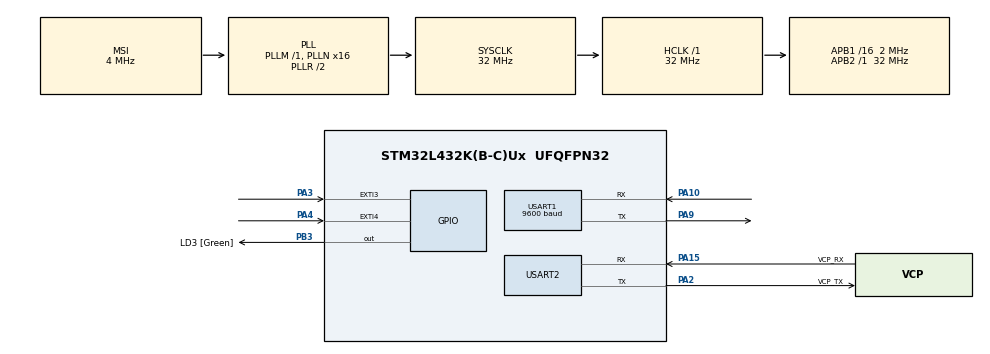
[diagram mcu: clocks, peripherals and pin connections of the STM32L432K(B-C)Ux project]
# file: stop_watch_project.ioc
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Dma.Request0=USART1_RX
Dma.USART1_RX.0.Direction=DMA_PERIPH_TO_MEMORY
Dma.USART1_RX.0.Instance=DMA1_Channel5
Dma.USART1_RX.0.MemDataAlignment=DMA_MDATAALIGN_BYTE
Dma.USART1_RX.0.MemInc=DMA_MINC_ENABLE
Dma.USART1_RX.0.Mode=DMA_NORMAL
Dma.USART1_RX.0.PeriphDataAlignment=DMA_PDATAALIGN_BYTE
Dma.USART1_RX.0.PeriphInc=DMA_PINC_DISABLE
Dma.USART1_RX.0.Priority=DMA_PRIORITY_LOW
FREERTOS.Tasks01=defaultTask,24,128,StartDefaultTask,Default,NULL,Dynamic,NULL,NULL;read_UART,24,128,StartTaskReadUART,Default,NULL,Dynamic,NULL,NULL;write_UART,24,128,StartTaskWriteUART,Default,NULL,Dynamic,NULL,NULL;count_stopwatch,40,128,StartTaskCountStopwatch,Default,NULL,Dynamic,NULL,NULL;WatchDogChecks,48,128,StartTaskStartTaskWatchDogChecks,Default,NULL,Dynamic,NULL,NULL
Mcu.Family=STM32L4
Mcu.Name=STM32L432K(B-C)Ux
Mcu.Package=UFQFPN32
NVIC.DMA1_Channel5_IRQn=true\:5\:0\:false\:false\:true\:true\:false\:true\:true
NVIC.EXTI3_IRQn=true\:5\:0\:false\:false\:true\:true\:true\:true\:true
NVIC.EXTI4_IRQn=true\:5\:0\:false\:false\:true\:true\:true\:true\:true
NVIC.PriorityGroup=NVIC_PRIORITYGROUP_4
NVIC.TIM2_IRQn=true\:5\:0\:false\:false\:true\:true\:true\:true\:true
NVIC.WWDG_IRQn=true\:5\:0\:false\:false\:true\:true\:true\:true\:true
PA0.GPIO_Label=MCO [High speed clock in]
PA0.Mode=HSE-External-Clock-Source-for-LittleOrca
PA0.Signal=RCC_CK_IN
PA10.Mode=Asynchronous
PA10.Signal=USART1_RX
PA13\ (JTMS-SWDIO).GPIO_Label=SWDIO
PA13\ (JTMS-SWDIO).Mode=Serial_Wire
PA13\ (JTMS-SWDIO).Signal=SYS_JTMS-SWDIO
PA14\ (JTCK-SWCLK).GPIO_Label=SWCLK
PA14\ (JTCK-SWCLK).Mode=Serial_Wire
PA14\ (JTCK-SWCLK).Signal=SYS_JTCK-SWCLK
PA15\ (JTDI).GPIO_Label=VCP_RX
PA15\ (JTDI).Mode=Asynchronous
PA15\ (JTDI).Signal=USART2_RX
PA2.GPIO_Label=VCP_TX
PA2.Mode=Asynchronous
PA2.Signal=USART2_TX
PA3.GPIO_ModeDefaultEXTI=GPIO_MODE_IT_RISING_FALLING
PA3.GPIO_PuPd=GPIO_PULLDOWN
PA3.Signal=GPXTI3
PA4.GPIO_PuPd=GPIO_PULLDOWN
PA4.Signal=GPXTI4
PA9.Mode=Asynchronous
PA9.Signal=USART1_TX
PB3\ (JTDO-TRACESWO).GPIO_Label=LD3 [Green]
PB3\ (JTDO-TRACESWO).Signal=GPIO_Output
PC14-OSC32_IN\ (PC14).Mode=LSE-External-Oscillator
PC14-OSC32_IN\ (PC14).Signal=RCC_OSC32_IN
PC15-OSC32_OUT\ (PC15).Mode=LSE-External-Oscillator
PC15-OSC32_OUT\ (PC15).Signal=RCC_OSC32_OUT
ProjectManager.HeapSize=0x200
ProjectManager.StackSize=0x400
ProjectManager.TargetToolchain=STM32CubeIDE
RCC.AHBFreq_Value=32000000
RCC.APB1CLKDivider=RCC_HCLK_DIV16
RCC.APB1Freq_Value=2000000
RCC.APB1TimFreq_Value=4000000
RCC.APB2Freq_Value=32000000
RCC.APB2TimFreq_Value=32000000
RCC.CortexFreq_Value=32000000
RCC.HCLKFreq_Value=32000000
RCC.HSE_VALUE=8000000
RCC.HSI16_VALUE=16000000
RCC.HSI48_VALUE=48000000
RCC.HSI_VALUE=16000000
RCC.MSI_VALUE=4000000
RCC.PLLMUL=RCC_PLLMUL_4
RCC.PLLN=16
RCC.SYSCLKFreq_VALUE=32000000
RCC.SYSCLKSource=RCC_SYSCLKSOURCE_PLLCLK
RCC.VCOOutputFreq_Value=64000000
TIM16.Period=65536-1
TIM16.Prescaler=80-1
TIM2.Period=3999
USART1.BaudRate=9600
USART1.VirtualMode-Asynchronous=VM_ASYNC
USART2.VirtualMode-Asynchronous=VM_ASYNC
VP_FREERTOS_VS_CMSIS_V2.Mode=CMSIS_V2
VP_TIM16_VS_ClockSourceINT.Mode=Enable_Timer
VP_TIM2_VS_ClockSourceINT.Mode=Internal
VP_WWDG_VS_WWDG.Mode=WWDG_Activate
WWDG.Counter=127
WWDG.EWIMode=WWDG_EWI_ENABLE
WWDG.Prescaler=WWDG_PRESCALER_8
WWDG.Window=95
board=NUCLEO-L432KC

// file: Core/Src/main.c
/* USER CODE BEGIN Header */
/**
  ******************************************************************************
  * @file           : main.c
  * @brief          : Main program body
  ******************************************************************************
  * @attention
  *
  * Copyright (c) 2024 STMicroelectronics.
  * All rights reserved.
  *
  * This software is licensed under terms that can be found in the LICENSE file
  * in the root directory of this software component.
  * If no LICENSE file comes with this software, it is provided AS-IS.
  *
  ******************************************************************************
  */
/* USER CODE END Header */
#include "main.h"
#include "cmsis_os.h"

TIM_HandleTypeDef htim2;
TIM_HandleTypeDef htim16;

UART_HandleTypeDef huart1;
UART_HandleTypeDef huart2;
DMA_HandleTypeDef hdma_usart1_rx;

WWDG_HandleTypeDef hwwdg;

/* Definitions for defaultTask */
osThreadId_t defaultTaskHandle;
const osThreadAttr_t defaultTask_attributes = {
  .name = "defaultTask",
  .stack_size = 128 * 4,
  .priority = (osPriority_t) osPriorityNormal,
};
/* Definitions for read_UART */
osThreadId_t read_UARTHandle;
const osThreadAttr_t read_UART_attributes = {
  .name = "read_UART",
  .stack_size = 128 * 4,
  .priority = (osPriority_t) osPriorityNormal,
};
/* Definitions for write_UART */
osThreadId_t write_UARTHandle;
const osThreadAttr_t write_UART_attributes = {
  .name = "write_UART",
  .stack_size = 128 * 4,
  .priority = (osPriority_t) osPriorityNormal,
};
/* Definitions for count_stopwatch */
osThreadId_t count_stopwatchHandle;
const osThreadAttr_t count_stopwatch_attributes = {
  .name = "count_stopwatch",
  .stack_size = 128 * 4,
  .priority = (osPriority_t) osPriorityHigh,
};
/* Definitions for WatchDogChecks */
osThreadId_t WatchDogChecksHandle;
const osThreadAttr_t WatchDogChecks_attributes = {
  .name = "WatchDogChecks",
  .stack_size = 128 * 4,
  .priority = (osPriority_t) osPriorityRealtime,
};

void SystemClock_Config(void);
static void MX_GPIO_Init(void);
static void MX_DMA_Init(void);
static void MX_USART2_UART_Init(void);
static void MX_USART1_UART_Init(void);
static void MX_TIM16_Init(void);
static void MX_TIM2_Init(void);
static void MX_WWDG_Init(void);
void StartDefaultTask(void *argument);
void StartTaskReadUART(void *argument);
void StartTaskWriteUART(void *argument);
void StartTaskCountStopwatch(void *argument);
void StartTaskStartTaskWatchDogChecks(void *argument);

/* USER CODE BEGIN 0 */
#define BUFFER_SIZE 12
uint16_t UART1_BufferSize = BUFFER_SIZE;
uint8_t UART1_rxBuffer[BUFFER_SIZE] = {0};
uint8_t UART1_txBuffer[BUFFER_SIZE] = {0};
uint8_t UART1_debugBuffer[BUFFER_SIZE] = {0};

uint8_t rxData; // Variable to store received data
uint8_t rxIndex = 0; // Index for buffer

// Global time variables
volatile uint32_t milliseconds = 0;
volatile uint32_t seconds = 0;
volatile uint32_t minutes = 0;
volatile uint32_t hours = 0;
volatile uint32_t prev_milliseconds = 0;

#define START 1
#define STOP 0
#define RESET 1
#define NOT_RESET 0

volatile uint32_t reset_flag = NOT_RESET;  // 0 = not reset, 1 = reset
volatile uint32_t start_stop_flag = STOP;  // 0 = stop, 1 = start

// Define task handles and watchdog status flags
#define NUM_TASKS 1  // Number of tasks to monitor

volatile uint32_t taskAliveFlags[NUM_TASKS] = {0};

// Task IDs (to identify them in the watchdog)
typedef enum {
    TASK_count_stopwatch_ID = 0
} TaskID_t;
/* USER CODE END 0 */

int main(void)
{

  /* MCU Configuration--------------------------------------------------------*/

  /* Reset of all peripherals, Initializes the Flash interface and the Systick. */
  HAL_Init();

  /* Configure the system clock */
  SystemClock_Config();

  /* Initialize all configured peripherals */
  MX_GPIO_Init();
  MX_DMA_Init();
  MX_USART2_UART_Init();
  MX_USART1_UART_Init();
  MX_TIM16_Init();
  MX_TIM2_Init();
  MX_WWDG_Init();
  /* USER CODE BEGIN 2 */
  HAL_TIM_Base_Start(&htim16);
  HAL_TIM_Base_Start_IT(&htim2);
  /* USER CODE END 2 */

  /* Init scheduler */
  osKernelInitialize();

  /* Create the thread(s) */
  /* creation of defaultTask */
//  defaultTaskHandle = osThreadNew(StartDefaultTask, NULL, &defaultTask_attributes);
//
//  /* creation of read_UART */
//  read_UARTHandle = osThreadNew(StartTaskReadUART, NULL, &read_UART_attributes);
//
//  /* creation of write_UART */
//  write_UARTHandle = osThreadNew(StartTaskWriteUART, NULL, &write_UART_attributes);

  /* creation of count_stopwatch */
  count_stopwatchHandle = osThreadNew(StartTaskCountStopwatch, (void*)TASK_count_stopwatch_ID, &count_stopwatch_attributes);

  /* creation of WatchDogChecks */
  WatchDogChecksHandle = osThreadNew(StartTaskStartTaskWatchDogChecks, NULL, &WatchDogChecks_attributes);

  /* Start scheduler */
  osKernelStart();

  /* We should never get here as control is now taken by the scheduler */
  /* Infinite loop */
  while (1)
  {

  }
}

void SystemClock_Config(void)
{
  RCC_OscInitTypeDef RCC_OscInitStruct = {0};
  RCC_ClkInitTypeDef RCC_ClkInitStruct = {0};

  /** Configure the main internal regulator output voltage
  */
  if (HAL_PWREx_ControlVoltageScaling(PWR_REGULATOR_VOLTAGE_SCALE1) != HAL_OK)
  {
    Error_Handler();
  }

  /** Configure LSE Drive Capability
  */
  HAL_PWR_EnableBkUpAccess();
  __HAL_RCC_LSEDRIVE_CONFIG(RCC_LSEDRIVE_LOW);

  /** Initializes the RCC Oscillators according to the specified parameters
  * in the RCC_OscInitTypeDef structure.
  */
  RCC_OscInitStruct.OscillatorType = RCC_OSCILLATORTYPE_LSE|RCC_OSCILLATORTYPE_MSI;
  RCC_OscInitStruct.LSEState = RCC_LSE_ON;
  RCC_OscInitStruct.MSIState = RCC_MSI_ON;
  RCC_OscInitStruct.MSICalibrationValue = 0;
  RCC_OscInitStruct.MSIClockRange = RCC_MSIRANGE_6;
  RCC_OscInitStruct.PLL.PLLState = RCC_PLL_ON;
  RCC_OscInitStruct.PLL.PLLSource = RCC_PLLSOURCE_MSI;
  RCC_OscInitStruct.PLL.PLLM = 1;
  RCC_OscInitStruct.PLL.PLLN = 16;
  RCC_OscInitStruct.PLL.PLLP = RCC_PLLP_DIV7;
  RCC_OscInitStruct.PLL.PLLQ = RCC_PLLQ_DIV2;
  RCC_OscInitStruct.PLL.PLLR = RCC_PLLR_DIV2;
  if (HAL_RCC_OscConfig(&RCC_OscInitStruct) != HAL_OK)
  {
    Error_Handler();
  }

  /** Initializes the CPU, AHB and APB buses clocks
  */
  RCC_ClkInitStruct.ClockType = RCC_CLOCKTYPE_HCLK|RCC_CLOCKTYPE_SYSCLK
                              |RCC_CLOCKTYPE_PCLK1|RCC_CLOCKTYPE_PCLK2;
  RCC_ClkInitStruct.SYSCLKSource = RCC_SYSCLKSOURCE_PLLCLK;
  RCC_ClkInitStruct.AHBCLKDivider = RCC_SYSCLK_DIV1;
  RCC_ClkInitStruct.APB1CLKDivider = RCC_HCLK_DIV16;
  RCC_ClkInitStruct.APB2CLKDivider = RCC_HCLK_DIV1;

  if (HAL_RCC_ClockConfig(&RCC_ClkInitStruct, FLASH_LATENCY_1) != HAL_OK)
  {
    Error_Handler();
  }

  /** Enable MSI Auto calibration
  */
  HAL_RCCEx_EnableMSIPLLMode();
}

static void MX_TIM2_Init(void)
{

  TIM_ClockConfigTypeDef sClockSourceConfig = {0};
  TIM_MasterConfigTypeDef sMasterConfig = {0};

  htim2.Instance = TIM2;
  htim2.Init.Prescaler = 0;
  htim2.Init.CounterMode = TIM_COUNTERMODE_UP;
  htim2.Init.Period = 3999;
  htim2.Init.ClockDivision = TIM_CLOCKDIVISION_DIV1;
  htim2.Init.AutoReloadPreload = TIM_AUTORELOAD_PRELOAD_DISABLE;
  if (HAL_TIM_Base_Init(&htim2) != HAL_OK)
  {
    Error_Handler();
  }
  sClockSourceConfig.ClockSource = TIM_CLOCKSOURCE_INTERNAL;
  if (HAL_TIM_ConfigClockSource(&htim2, &sClockSourceConfig) != HAL_OK)
  {
    Error_Handler();
  }
  sMasterConfig.MasterOutputTrigger = TIM_TRGO_RESET;
  sMasterConfig.MasterSlaveMode = TIM_MASTERSLAVEMODE_DISABLE;
  if (HAL_TIMEx_MasterConfigSynchronization(&htim2, &sMasterConfig) != HAL_OK)
  {
    Error_Handler();
  }

}

static void MX_TIM16_Init(void)
{

  htim16.Instance = TIM16;
  htim16.Init.Prescaler = 80-1;
  htim16.Init.CounterMode = TIM_COUNTERMODE_UP;
  htim16.Init.Period = 65536-1;
  htim16.Init.ClockDivision = TIM_CLOCKDIVISION_DIV1;
  htim16.Init.RepetitionCounter = 0;
  htim16.Init.AutoReloadPreload = TIM_AUTORELOAD_PRELOAD_DISABLE;
  if (HAL_TIM_Base_Init(&htim16) != HAL_OK)
  {
    Error_Handler();
  }

}

static void MX_USART1_UART_Init(void)
{

  huart1.Instance = USART1;
  huart1.Init.BaudRate = 9600;
  huart1.Init.WordLength = UART_WORDLENGTH_8B;
  huart1.Init.StopBits = UART_STOPBITS_1;
  huart1.Init.Parity = UART_PARITY_NONE;
  huart1.Init.Mode = UART_MODE_TX_RX;
  huart1.Init.HwFlowCtl = UART_HWCONTROL_NONE;
  huart1.Init.OverSampling = UART_OVERSAMPLING_16;
  huart1.Init.OneBitSampling = UART_ONE_BIT_SAMPLE_DISABLE;
  huart1.AdvancedInit.AdvFeatureInit = UART_ADVFEATURE_NO_INIT;
  if (HAL_UART_Init(&huart1) != HAL_OK)
  {
    Error_Handler();
  }

}

static void MX_USART2_UART_Init(void)
{

  huart2.Instance = USART2;
  huart2.Init.BaudRate = 115200;
  huart2.Init.WordLength = UART_WORDLENGTH_8B;
  huart2.Init.StopBits = UART_STOPBITS_1;
  huart2.Init.Parity = UART_PARITY_NONE;
  huart2.Init.Mode = UART_MODE_TX_RX;
  huart2.Init.HwFlowCtl = UART_HWCONTROL_NONE;
  huart2.Init.OverSampling = UART_OVERSAMPLING_16;
  huart2.Init.OneBitSampling = UART_ONE_BIT_SAMPLE_DISABLE;
  huart2.AdvancedInit.AdvFeatureInit = UART_ADVFEATURE_NO_INIT;
  if (HAL_UART_Init(&huart2) != HAL_OK)
  {
    Error_Handler();
  }

}

static void MX_WWDG_Init(void)
{

  hwwdg.Instance = WWDG;
  hwwdg.Init.Prescaler = WWDG_PRESCALER_8;
  hwwdg.Init.Window = 95;
  hwwdg.Init.Counter = 127;
  hwwdg.Init.EWIMode = WWDG_EWI_ENABLE;
  if (HAL_WWDG_Init(&hwwdg) != HAL_OK)
  {
    Error_Handler();
  }

}

static void MX_DMA_Init(void)
{

  /* DMA controller clock enable */
  __HAL_RCC_DMA1_CLK_ENABLE();

  /* DMA interrupt init */
  /* DMA1_Channel5_IRQn interrupt configuration */
  HAL_NVIC_SetPriority(DMA1_Channel5_IRQn, 5, 0);
  HAL_NVIC_EnableIRQ(DMA1_Channel5_IRQn);

}

static void MX_GPIO_Init(void)
{
  GPIO_InitTypeDef GPIO_InitStruct = {0};

  /* GPIO Ports Clock Enable */
  __HAL_RCC_GPIOC_CLK_ENABLE();
  __HAL_RCC_GPIOA_CLK_ENABLE();
  __HAL_RCC_GPIOB_CLK_ENABLE();

  /*Configure GPIO pin Output Level */
  HAL_GPIO_WritePin(LD3_GPIO_Port, LD3_Pin, GPIO_PIN_RESET);

  /*Configure GPIO pin : PA3 */
  GPIO_InitStruct.Pin = GPIO_PIN_3;
  GPIO_InitStruct.Mode = GPIO_MODE_IT_RISING_FALLING;
  GPIO_InitStruct.Pull = GPIO_PULLDOWN;
  HAL_GPIO_Init(GPIOA, &GPIO_InitStruct);

  /*Configure GPIO pin : PA4 */
  GPIO_InitStruct.Pin = GPIO_PIN_4;
  GPIO_InitStruct.Mode = GPIO_MODE_IT_RISING;
  GPIO_InitStruct.Pull = GPIO_PULLDOWN;
  HAL_GPIO_Init(GPIOA, &GPIO_InitStruct);

  /*Configure GPIO pin : LD3_Pin */
  GPIO_InitStruct.Pin = LD3_Pin;
  GPIO_InitStruct.Mode = GPIO_MODE_OUTPUT_PP;
  GPIO_InitStruct.Pull = GPIO_NOPULL;
  GPIO_InitStruct.Speed = GPIO_SPEED_FREQ_LOW;
  HAL_GPIO_Init(LD3_GPIO_Port, &GPIO_InitStruct);

  /* EXTI interrupt init*/
  HAL_NVIC_SetPriority(EXTI3_IRQn, 5, 0);
  HAL_NVIC_EnableIRQ(EXTI3_IRQn);

  HAL_NVIC_SetPriority(EXTI4_IRQn, 5, 0);
  HAL_NVIC_EnableIRQ(EXTI4_IRQn);

}

/* USER CODE BEGIN 4 */
//void HAL_UART_RxCpltCallback(UART_HandleTypeDef *huart)
//{
//  HAL_UART_Receive_DMA(&huart1, UART1_rxBuffer, UART1_BufferSize); //You need to toggle a breakpoint on this line!
//  HAL_UART_Transmit_DMA(&huart1, UART1_rxBuffer, UART1_BufferSize);
//}
void HAL_TIM_PeriodElapsedCallback(TIM_HandleTypeDef* htim)
{
	if (htim == &htim2 && reset_flag == NOT_RESET)
	{
		milliseconds++;
	}
}

void HAL_GPIO_EXTI_Callback(uint16_t GPIO_Pin)
{
	static uint32_t last_tick = 0;
	uint32_t current_tick = HAL_GetTick();
	uint32_t debouncing_delay = 100;  // in milliseconds

	if (GPIO_Pin == GPIO_PIN_3 && (current_tick - last_tick) > debouncing_delay)
	{
		// reset stopwatch
        if (HAL_GPIO_ReadPin(GPIOA, GPIO_PIN_3) == GPIO_PIN_SET) {  // Confirm button is still pressed
        	reset_flag = RESET;  // Set reset_flag when pin goes high (rising edge)
        	start_stop_flag = STOP;
		}
        else
        {
        	reset_flag = NOT_RESET;  // Clear reset_flag when pin goes low (falling edge)
        }
	}
	else if (GPIO_Pin == GPIO_PIN_4 && (current_tick - last_tick) > debouncing_delay)
	{
		// start or stop stopwatch
        if (HAL_GPIO_ReadPin(GPIOA, GPIO_PIN_4) == GPIO_PIN_SET) {  // Confirm button is still pressed
        	start_stop_flag = !start_stop_flag;
        }
	}

//	if ((GPIO_Pin == GPIO_PIN_4 || GPIO_Pin == GPIO_PIN_3) && (current_tick - last_tick) > debouncing_delay)
//	{
//		HAL_GPIO_TogglePin(LD3_GPIO_Port, LD3_Pin);
//	}

}

// Helper function to format and send time over UART
void SendTimeUART(uint32_t hours, uint32_t minutes, uint32_t seconds, uint32_t milliseconds) {
    char uart_buf[50];
    uint16_t uart_buf_len = sprintf(uart_buf, "%02d:%02d:%02d:%03d h:m:s:ms\r\n", hours, minutes, seconds, milliseconds);
    HAL_UART_Transmit(&huart2, (uint8_t *)uart_buf, uart_buf_len, 100);
}

// Helper function to increment time components
void UpdateTime(void) {
    if (milliseconds >= 999) {
        seconds++;
        milliseconds = 0;
//        HAL_GPIO_TogglePin(LD3_GPIO_Port, LD3_Pin); // Toggle LED every second
    }
    if (seconds > 59) {
        minutes++;
        seconds = 0;
    }
    if (minutes > 59) {
        hours++;
        minutes = 0;
    }
}
/* USER CODE END 4 */

void StartDefaultTask(void *argument)
{
  /* USER CODE BEGIN 5 */
  /* Infinite loop */
  for(;;)
  {
//	  HAL_GPIO_TogglePin(LD3_GPIO_Port, LD3_Pin);
//	  osDelay(500);
  }
  /* USER CODE END 5 */
}

void StartTaskReadUART(void *argument)
{
  /* USER CODE BEGIN StartTaskReadUART */
//	HAL_UART_Receive_DMA(&huart1, UART1_rxBuffer, UART1_BufferSize);
// Check if data is available to read
//	if (HAL_UART_Receive(&huart1, &rxData, 1, HAL_MAX_DELAY) == HAL_OK)
//	{
//		// Store received data in buffer
//		UART1_rxBuffer[rxIndex] = rxData;
//		rxIndex++;
//
//		// Check for end of data or buffer overflow
//		if (rxData == '\n' || rxIndex >= UART1_BufferSize)
//		{
//			// Process received data
//			// Example: Print received data
//			HAL_UART_Transmit(&huart1, UART1_rxBuffer, rxIndex, HAL_MAX_DELAY);
//
//			// Reset buffer and index for next reception
//			rxIndex = 0;
//		}
//	}
//	uint32_t UART1_timeout = 100;
//	/* Infinite loop */
	for(;;)
	{
//	  HAL_UART_Receive(&huart1, UART1_rxBuffer, UART1_BufferSize, UART1_timeout);
//	  osDelay(1000);
//	  HAL_UART_Transmit(&huart1, UART1_rxBuffer, UART1_BufferSize, UART1_timeout);
	}
  /* USER CODE END StartTaskReadUART */
}

void StartTaskWriteUART(void *argument)
{
  /* USER CODE BEGIN StartTaskWriteUART */
//	uint32_t UART1_timeout = 100;

//	int A = 65;  // A in ASCII code
//
//	for (int i = 0; i < UART1_BufferSize; i++)
//	{
//		UART1_txBuffer[i] = A + i;
//	}
//
//	for (int i = 0; i < UART1_BufferSize; i++)
//	{
//		UART1_debugBuffer[i] = 90 - i;
//	}

//	HAL_UART_Transmit(&huart1, UART1_txBuffer, UART1_BufferSize, UART1_timeout);

  /* Infinite loop */
  for(;;)
  {
//	  HAL_UART_Transmit(&huart1, UART1_txBuffer, UART1_BufferSize, UART1_timeout);
//	  HAL_UART_Receive(&huart1, UART1_rxBuffer, UART1_BufferSize, UART1_timeout);
//	  HAL_UART_Transmit(&huart2, UART1_rxBuffer, UART1_BufferSize, UART1_timeout);
//	  osDelay(1000);
//	  HAL_UART_Transmit(&huart1, UART1_rxBuffer, UART1_BufferSize, UART1_timeout);
  }
  /* USER CODE END StartTaskWriteUART */
}

void StartTaskCountStopwatch(void *argument)
{
  /* USER CODE BEGIN StartTaskCountStopwatch */
    /* Infinite loop */
    TaskID_t taskId = (TaskID_t)argument;
    uint32_t reset_flag_prev = reset_flag;
    uint32_t start_stop_flag_prev = start_stop_flag;
    for (;;) {
    	taskAliveFlags[taskId] = 1;  // Signal task is alive
        // If stopwatch is running and not reset
        if ((start_stop_flag == START) && (reset_flag == NOT_RESET)) {
            if (prev_milliseconds != milliseconds) {
                SendTimeUART(hours, minutes, seconds, milliseconds);
                prev_milliseconds = milliseconds;
            }
            UpdateTime();
            osDelay(1); // Delay 1 ms to avoid tight loop
        }

        // If stopwatch is stopped but not reset
        else if ((start_stop_flag == STOP) && (start_stop_flag_prev != start_stop_flag) && (reset_flag == NOT_RESET)) {
            SendTimeUART(hours, minutes, seconds, milliseconds);
            osDelay(100); // Update display once every second when stopped
        }

        // If reset is triggered
        else if (reset_flag == RESET && reset_flag != reset_flag_prev) {
            milliseconds = 0;
            prev_milliseconds = 0;
            seconds = 0;
            minutes = 0;
            hours = 0;
            SendTimeUART(hours, minutes, seconds, milliseconds);
			osDelay(100); // Update display once every second when reset
        }
    }
  /* USER CODE END StartTaskCountStopwatch */
}

void StartTaskStartTaskWatchDogChecks(void *argument)
{
  /* USER CODE BEGIN StartTaskStartTaskWatchDogChecks */
  /* Infinite loop */
  for(;;)
  {
	osDelay(900);

	uint32_t allTasksAlive = 1;
    for (int i = 0; i < NUM_TASKS; i++) {
        if (taskAliveFlags[i] == 0) {
            allTasksAlive = 0;  // Task did not signal within time
            break;
        }
    }

    if (allTasksAlive) {
    	HAL_GPIO_TogglePin(LD3_GPIO_Port, LD3_Pin);
        HAL_WWDG_Refresh(&hwwdg);
    } //else {
        // Handle watchdog timeout: log error, reset system, etc.
        // resetSystem(); or print error message
    //}

    // Clear task flags for next check
    for (int i = 0; i < NUM_TASKS; i++) {
        taskAliveFlags[i] = 0;
    }

  }
  /* USER CODE END StartTaskStartTaskWatchDogChecks */
}

void Error_Handler(void)
{
  __disable_irq();
  while (1)
  {
  }
}
